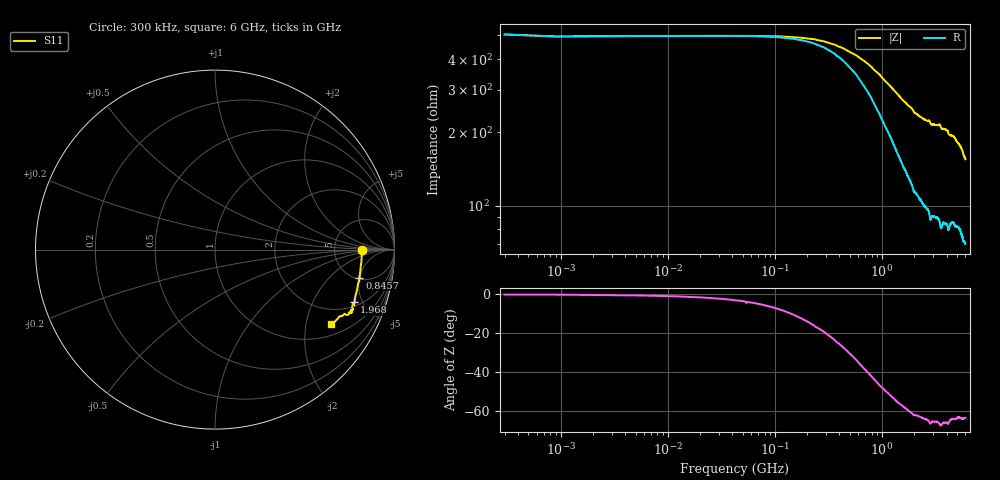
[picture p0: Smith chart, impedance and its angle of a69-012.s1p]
!  3/12/2021  10:34:58
! Ref Plane: 23.990 mm
# MHZ S MA R  50
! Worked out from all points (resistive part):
!   10001 points, 300 kHz to 6 GHz, reference 50 ohm
!   read as one part to ground: R = 498 ohm at 30.3 MHz
!   S11 on the Smith chart (normalised r, x): 300 kHz: 10, -0; 845.7 MHz: 5.24, -4.99; 1.968 GHz: 2.31, -4.32; 6 GHz: 1.40, -2.78
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0.3  0.8197 -0.0
392.0804  0.8179 -5.4
750.2625  0.8195 -9.8
845.6577  0.8195 -11.0
1094.045  0.8202 -13.7
1500.225  0.8227 -17.3
1968.202  0.8295 -20.6
2250.188  0.827 -21.8
2620.369  0.829 -23.0
2724.764  0.8326 -23.0
2790.16  0.8385 -23.4
2842.958  0.835 -24.0
3000.15  0.8297 -23.9
3289.936  0.8296 -24.2
3481.326  0.839 -24.4
3570.122  0.8364 -25.1
3678.116  0.8279 -25.2
3750.113  0.8275 -25.0
4056.097  0.8251 -25.4
4179.091  0.8222 -26.3
4332.683  0.8098 -26.4
4500.075  0.8062 -26.4
4692.665  0.8048 -26.6
5056.247  0.7907 -27.9
5250.038  0.788 -28.4
5621.419  0.7811 -30.2
5742.613  0.7768 -31.3
6000  0.7647 -32.7
